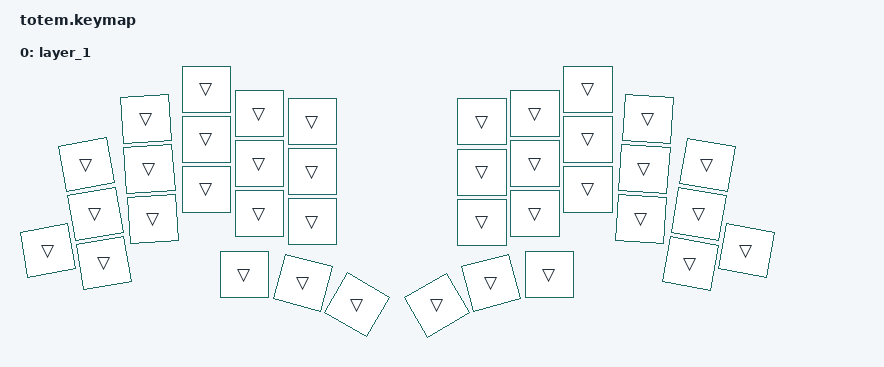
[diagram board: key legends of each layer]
// THIS IS NOT THE FILE EDITED BY KEYMAP-EDITOR OR ZMK-STUDIO
// THIS IS JUST AN EMPTY LAYOUT
//
//                                                        ▀▀▀▀▀     ▀▀▀▀▀          ▀▀█▀▀
//                                                        ▄▀▀▀▄  ▄  ▄▀▀▀▄  ▄  ▄▀▀▀▄  █  ▄▀▀▀▄
//                                                        █   █  █  █   █  █  █   █  █  █   █
//                                                         ▀▀▀   █   ▀▀▀   █   ▀▀▀   ▀   ▀▀▀
//                                                               █      ▄▄▄█▄▄▄    █   █  
//                                                               ▀      █  █  █     █▄█
//                                                             ▀▀▀▀▀    █  █  █      ▀
//                                                                      ▀  ▀  ▀
//
// ▄▄▄▄▄▄▄▄▄▄▄▄▄▄▄▄▄▄▄▄▄▄▄▄▄▄▄▄▄▄▄▄▄▄▄▄▄▄▄▄▄▄▄▄▄▄▄▄▄▄▄▄▄▄▄▄▄▄▄▄▄▄▄▄▄▄▄▄▄▄▄▄▄▄▄▄▄▄▄▄▄▄▄▄▄▄▄▄▄▄▄▄▄▄▄▄▄▄▄▄▄▄▄▄▄▄▄▄▄▄▄▄▄▄▄▄▄▄▄▄▄▄▄▄▄▄▄▄▄▄▄▄▄▄▄▄▄▄▄▄▄▄▄▄▄▄▄▄▄

#include <behaviors.dtsi>
#include <dt-bindings/zmk/keys.h>

#define Base        0

&mt {
    quick-tap-ms = <100>;
    global-quick-tap;
    flavor = "tap-preferred";
    tapping-term-ms = <170>;
};

&lt {
    tapping-term-ms = <240>;
    flavor = "balanced";
    quick-tap-ms = <150>;
};

/ {
    behaviors {
        hm: homerow_mods {
            compatible = "zmk,behavior-hold-tap";
            label = "HOMEROW_MODS";
            #binding-cells = <2>;
            flavor = "tap-preferred";
            tapping-term-ms = <200>;
            quick-tap-ms = <125>;
            global-quick-tap;
            bindings = <&kp>, <&kp>;
        };
    };

    combos { compatible = "zmk,combos"; };

    keymap {
        compatible = "zmk,keymap";

        layer_1 {
            bindings = <
        &trans  &trans  &trans  &trans  &trans    &trans  &trans  &trans  &trans  &trans
        &trans  &trans  &trans  &trans  &trans    &trans  &trans  &trans  &trans  &trans
&trans  &trans  &trans  &trans  &trans  &trans    &trans  &trans  &trans  &trans  &trans  &trans
                        &trans  &trans  &trans    &trans  &trans  &trans
            >;
        };
    };
};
